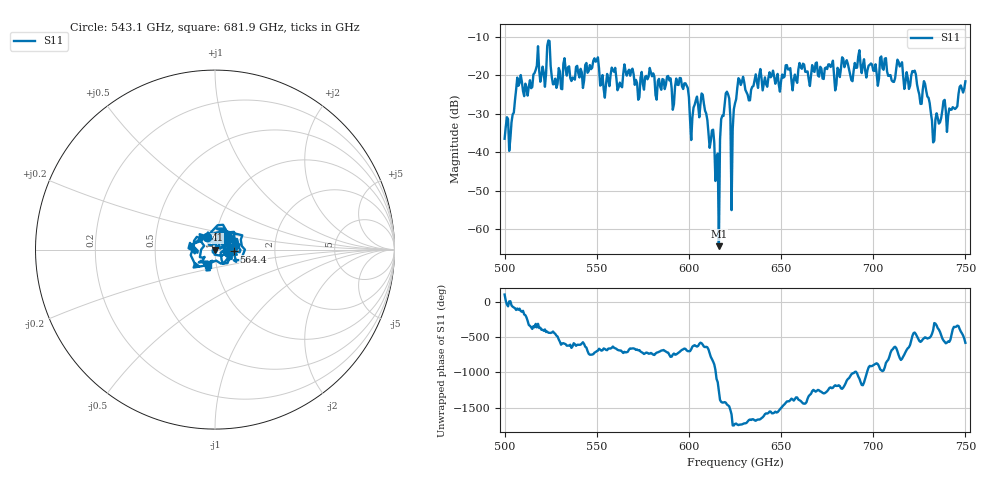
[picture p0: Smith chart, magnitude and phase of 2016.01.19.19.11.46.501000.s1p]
!Created with skrf (http://scikit-rf.org).
# GHz S RI R 50.0
!freq ReS11 ImS11
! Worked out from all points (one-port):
!   401 points, 500 GHz to 750 GHz, reference 50 ohm
!   lowest |S11| = -64.4 dB at 616.2 GHz (marker M1), VSWR 1.00, Z = 49.9 + j0.00506 ohm
!   |S11| at or under -10 dB: start of sweep to end of sweep
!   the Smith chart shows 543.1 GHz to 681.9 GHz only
!   S11 on the Smith chart (normalised r, x): 543.1 GHz: 0.90, +0.13; 564.4 GHz: 1.23, -0.03; 681.9 GHz: 0.91, -0.16
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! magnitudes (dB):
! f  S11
! 500 GHz  -36.5
! 503.8 GHz  -32.2
! 508.1 GHz  -22.0
! 520.6 GHz  -17.7
! 523.8 GHz  -10.9
! 526.9 GHz  -22.3
! 531.2 GHz  -23.6
! 543.1 GHz  -21.4
! 549.4 GHz  -16.4
! 553.1 GHz  -19.9
! 562.5 GHz  -21.9
! 564.4 GHz  -19.5
! 593.8 GHz  -22.4
! 601.9 GHz  -31.0
! 608.1 GHz  -27.4
! 615 GHz  -41.3
! 616.2 GHz  -64.4
! 620 GHz  -24.7
! 623.8 GHz  -34.0
! 625 GHz  -27.3
! 628.1 GHz  -22.5
! 656.2 GHz  -23.9
! 681.9 GHz  -20.4
! 687.5 GHz  -19.8
! 718.8 GHz  -20.7
! 728.8 GHz  -24.0
! 733.1 GHz  -37.0
! 750 GHz  -21.5
